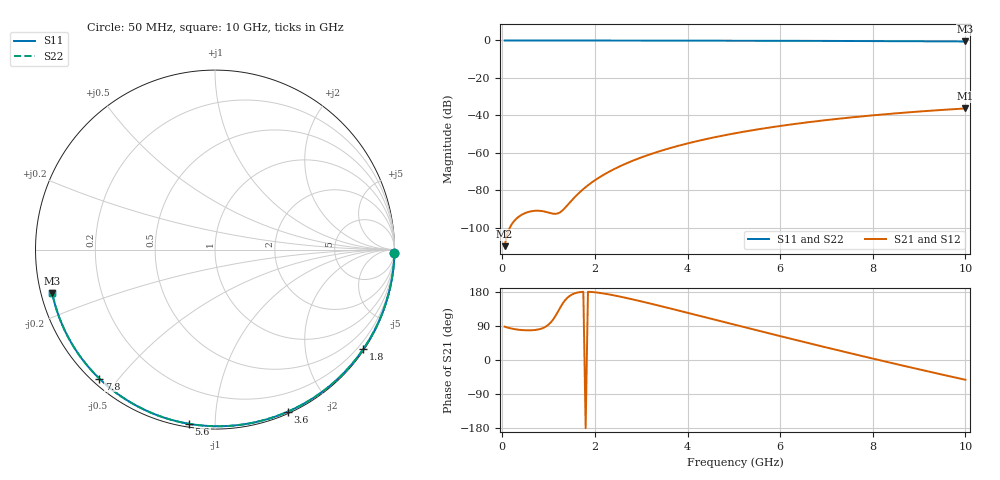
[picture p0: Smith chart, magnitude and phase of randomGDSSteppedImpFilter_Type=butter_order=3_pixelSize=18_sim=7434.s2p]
! freq	dB(S11)	phase(S11)	dB(S12)	phase(S12)
!  dB(S21)	phase(S21)	dB(S22)	phase(S22)
!S-par simulation data
#  GHz  S  DB  R 50
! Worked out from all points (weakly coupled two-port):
!   200 points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, 50 MHz to 10 GHz, reference 50 ohm
!   highest |S21| = -36.31 dB at 10 GHz (marker M1); lowest = -109.8 dB at 50 MHz (marker M2)
!   lowest |S11| = -0.5 dB at 10 GHz (marker M3), VSWR 31.68, Z = 1.61 - j6.59 ohm
!   |S11| at or under -10 dB: nowhere
!   |S22| runs from -0.5 to 0.0 dB; largest |S21 - S12| = 0
!   S11 on the Smith chart (normalised r, x): 50 MHz: open; 1.8 GHz: 0.03, -3.29; 3.6 GHz: 0.02, -1.55; 5.6 GHz: 0.02, -0.86; 7.8 GHz: 0.02, -0.45; 10 GHz: 0.03, -0.13
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0.05  -0.00 -1.0  -109.85 88.0  -109.85 88.0  -0.00 -1.0
0.45  -0.01 -8.6  -92.67 78.8  -92.67 78.8  -0.01 -8.6
0.85  -0.02 -16.2  -91.08 83.0  -91.08 83.0  -0.02 -16.2
1.25  -0.03 -23.7  -91.75 138.3  -91.75 138.3  -0.03 -23.7
1.7  -0.04 -32.0  -80.43 179.4  -80.43 179.4  -0.04 -32.0
1.75  -0.04 -32.9  -79.34 179.9  -79.34 179.9  -0.04 -32.9
1.8  -0.04 -33.8  -78.31 -179.9  -78.31 -179.9  -0.04 -33.8
1.95  -0.05 -36.6  -75.50 179.2  -75.50 179.2  -0.05 -36.6
2.1  -0.05 -39.3  -73.04 177.1  -73.04 177.1  -0.05 -39.3
2.45  -0.06 -45.6  -68.25 169.6  -68.25 169.6  -0.06 -45.6
2.9  -0.07 -53.6  -63.41 157.6  -63.41 157.6  -0.07 -53.6
3.4  -0.08 -62.4  -59.12 142.9  -59.12 142.9  -0.08 -62.3
3.6  -0.09 -65.8  -57.64 136.8  -57.64 136.8  -0.09 -65.8
4.3  -0.11 -77.6  -53.22 115.3  -53.22 115.3  -0.11 -77.6
5.05  -0.14 -89.8  -49.45 92.1  -49.45 92.1  -0.14 -89.8
5.6  -0.16 -98.5  -47.14 75.2  -47.14 75.2  -0.16 -98.5
6.15  -0.19 -107.0  -45.14 58.5  -45.14 58.5  -0.19 -107.0
6.7  -0.22 -115.4  -43.38 41.9  -43.38 41.9  -0.22 -115.4
7.8  -0.31 -131.8  -40.45 9.5  -40.45 9.5  -0.31 -131.8
8.35  -0.36 -140.0  -39.22 -6.3  -39.22 -6.3  -0.36 -140.0
9.2  -0.45 -152.7  -37.59 -30.3  -37.59 -30.3  -0.45 -152.7
10  -0.55 -165.0  -36.31 -52.2  -36.31 -52.2  -0.55 -165.0
